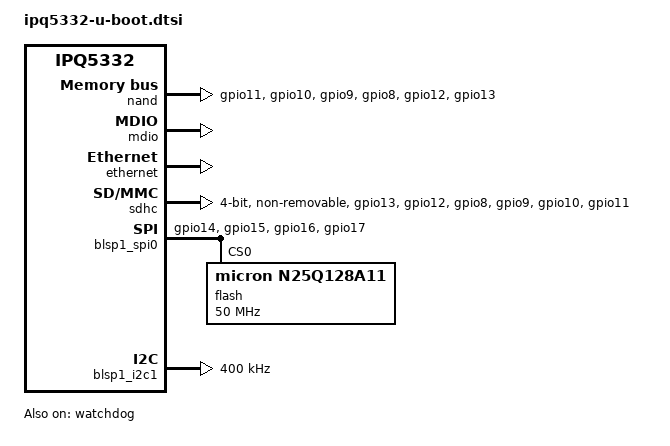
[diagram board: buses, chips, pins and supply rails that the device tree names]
// SPDX-License-Identifier: GPL-2.0+
/*
 * Copyright (c) Qualcomm Technologies, Inc. and/or its subsidiaries.
 */
/ {

	reserved-memory {

		/delete-node/ smem;
		smem_mem: smem_region@4a800000 {
			reg = <0x0 0x4a800000 0x0 0x100000>;
			no-map;
		};
	};

	smem {
		compatible = "qcom,smem";
		memory-region = <&smem_mem>;
		hwlocks = <&tcsr_mutex 3>;
	};

	soc@0 {
		nand: nand-controller@79B0000 {
			compatible = "qti,spi-nand-v2.1.1";
			#address-cells = <1>;
			#size-cells = <1>;
			reg = <0x79B0000  0x10000>;
			assigned-clocks = <&gcc GCC_QPIC_IO_MACRO_CLK>;
			assigned-clock-rates = <200000000>;
			clock-names = "qpic-io-macro-clk";
			clocks = <&gcc GCC_QPIC_IO_MACRO_CLK>;
			bam_reg = <0x07984000>;
			status_pipe = <3>;
			status_pipe_grp = <0>;
			read_pipe = <1>;
			read_pipe_grp = <0>;
			write_pipe = <0>;
			write_pipe_grp = <0>;
			cmd_pipe = <2>;
			cmd_pipe_grp = <1>;
			serial_training;
			pinctrl-0 = <&qspi_pinmux>;
			pinctrl-names = "default";
			status = "okay";
		};

		nss: clock-controller@39B00000 {
			compatible = "qcom,ipq5332-gcc";
			reg = <0x39B00000 0x00080000>;
			#address-cells = <0x1>;
			#size-cells = <0x1>;
			#clock-cells = <1>;
			#reset-cells = <1>;
		};

		mdio: mdio@90000 {
			#address-cells = <1>;
			#size-cells = <1>;
			compatible = "qcom,ipq4019-mdio";
			reg = <0x90000 0x64>;
			clocks = <&gcc GCC_MDIO_MASTER_AHB_CLK>;
			clk_div = /bits/ 8 <15>;
			status = "okay";
		};

		ethernet: nss-switch {
			compatible = "qti,ipq-nss-switch";
			#address-cells = <1>;
			#size-cells = <1>;
			reg = <0x3ab00000 0xEF800
				0x3A000000 0x1000000
				0x07A00000 0x10000>;
			reg-names = "edma_hw", "ppe_base", "uniphy_base";
			assigned-clocks = <&gcc GCC_QDSS_AT_CLK>,
					<&gcc GCC_PCNOC_BFDCD_CLK_SRC>,
					<&nss NSS_CC_CFG_CLK>,
					<&gcc GCC_SYSTEM_NOC_BFDCD_CLK_SRC>,
					<&nss NSS_CC_PPE_CLK>;
			assigned-clock-rates = <240000000>,
						<100000000>,
						<100000000>,
						<266666667>,
						<200000000>;
			clocks = <&gcc GCC_QDSS_AT_CLK>,
				<&gcc GCC_NSSCFG_CLK>,
				<&gcc GCC_NSSNOC_ATB_CLK>,
				<&gcc GCC_NSSNOC_QOSGEN_REF_CLK>,
				<&gcc GCC_NSSNOC_TIMEOUT_REF_CLK>,
				<&gcc GCC_NSSCC_CLK>,
				<&gcc GCC_NSSNOC_NSSCC_CLK>,
				<&nss NSS_CC_NSS_CSR_CLK>,
				<&nss NSS_CC_NSSNOC_NSS_CSR_CLK>,
				<&gcc GCC_IM_SLEEP_CLK>,
				<&gcc GCC_CMN_12GPLL_AHB_CLK>,
				<&gcc GCC_CMN_12GPLL_SYS_CLK>,
				<&gcc GCC_UNIPHY0_SYS_CLK>,
				<&gcc GCC_UNIPHY1_SYS_CLK>,
				<&gcc GCC_UNIPHY0_AHB_CLK>,
				<&gcc GCC_UNIPHY1_AHB_CLK>,
				<&nss NSS_CC_PORT1_MAC_CLK>,
				<&nss NSS_CC_PORT2_MAC_CLK>,
				<&nss NSS_CC_PPE_SWITCH_IPE_CLK>,
				<&nss NSS_CC_PPE_SWITCH_CLK>,
				<&nss NSS_CC_PPE_SWITCH_CFG_CLK>,
				<&nss NSS_CC_PPE_EDMA_CLK>,
				<&nss NSS_CC_PPE_EDMA_CFG_CLK>,
				<&nss NSS_CC_NSSNOC_PPE_CLK>,
				<&nss NSS_CC_NSSNOC_PPE_CFG_CLK>,
				<&nss NSS_CC_PPE_SWITCH_BTQ_CLK>,
				<&gcc GCC_NSSNOC_SNOC_CLK>,
				<&gcc GCC_NSSNOC_SNOC_1_CLK>,
				<&nss NSS_CC_PORT1_RX_CLK>,
				<&nss NSS_CC_PORT1_TX_CLK>,
				<&nss NSS_CC_PORT2_RX_CLK>,
				<&nss NSS_CC_PORT2_TX_CLK>,
				<&nss NSS_CC_UNIPHY_PORT1_RX_CLK>,
				<&nss NSS_CC_UNIPHY_PORT1_TX_CLK>,
				<&nss NSS_CC_UNIPHY_PORT2_RX_CLK>,
				<&nss NSS_CC_UNIPHY_PORT2_TX_CLK>,
				<&nss UNIPHY0_NSS_RX_CLK>,
				<&nss UNIPHY0_NSS_TX_CLK>,
				<&nss UNIPHY1_NSS_RX_CLK>,
				<&nss UNIPHY1_NSS_TX_CLK>;

			clock-names = "gcc_qdss_at_clk",
				"gcc_nsscfg_clk",
				"gcc_nssnoc_atb_clk",
				"gcc_nssnoc_qosgen_ref_clk",
				"gcc_nssnoc_timeout_ref_clk",
				"gcc_nsscc_clk",
				"gcc_nssnoc_nsscc_clk",
				"nss_cc_nss_csr_clk",
				"nss_cc_nssnoc_nss_csr_clk",
				"gcc_im_sleep_clk",
				"gcc_cmn_12gpll_ahb_clk",
				"gcc_cmn_12gpll_sys_clk",
				"gcc_uniphy0_sys_clk",
				"gcc_uniphy1_sys_clk",
				"gcc_uniphy0_ahb_clk",
				"gcc_uniphy1_ahb_clk",
				"nss_cc_port1_mac_clk",
				"nss_cc_port2_mac_clk",
				"nss_cc_ppe_switch_ipe_clk",
				"nss_cc_ppe_switch_clk",
				"nss_cc_ppe_switch_cfg_clk",
				"nss_cc_ppe_edma_clk",
				"nss_cc_ppe_edma_cfg_clk",
				"nss_cc_nssnoc_ppe_clk",
				"nss_cc_nssnoc_ppe_cfg_clk",
				"nss_cc_ppe_switch_btq_clk",
				"gcc_nssnoc_snoc_clk",
				"gcc_nssnoc_snoc_1_clk",
				"nss_cc_port1_rx_clk",
				"nss_cc_port1_tx_clk",
				"nss_cc_port2_rx_clk",
				"nss_cc_port2_tx_clk",
				"nss_cc_uniphy_port1_rx_clk",
				"nss_cc_uniphy_port1_tx_clk",
				"nss_cc_uniphy_port2_rx_clk",
				"nss_cc_uniphy_port2_tx_clk",
				"uniphy0_nss_rx_clk",
				"uniphy0_nss_tx_clk",
				"uniphy1_nss_rx_clk",
				"uniphy1_nss_tx_clk";

			resets = <&gcc GCC_UNIPHY0_SOFT_RESET>,
				<&gcc GCC_UNIPHY1_SOFT_RESET>,
				<&gcc GCC_UNIPHY0_XPCS_RESET>,
				<&gcc GCC_UNIPHY1_XPCS_RESET>,
				<&gcc GCC_UNIPHY0_BCR>,
				<&gcc GCC_UNIPHY1_BCR>,
				<&nss NSS_CC_PORT1_TX_RESET>,
				<&nss NSS_CC_PORT1_RX_RESET>,
				<&nss NSS_CC_PORT2_TX_RESET>,
				<&nss NSS_CC_PORT2_RX_RESET>,
				<&nss NSS_CC_PPE_BCR>;
			reset-names = "uniphy0_srst", "uniphy1_srst",
					"uniphy0_xrst", "uniphy1_xrst",
					"uniphy0_bcr", "uniphy1_bcr",
					"nss_cc_port1_tx",
					"nss_cc_port1_rx",
					"nss_cc_port2_tx",
					"nss_cc_port2_tx",
					"nss_cc_ppe_bcr";
			tdm_offset = <0xc000>;
			tdm_mode = <0>;
			no_tdm_reg = <30>;
			tdm_tm_support;
			50mhz = <3>;
			bridge_mode;
			status = "okay";
		};
	};
};

&watchdog {
	status = "okay";
};

&sdhc {
	bus-width = <4>;
	max-frequency = <192000000>;
	mmc-ddr-1_8v;
	mmc-hs200-1_8v;
	non-removable;
	pinctrl-0 = <&sdc_default_state>;
	pinctrl-names = "default";
	status = "okay";
	sdhci-caps-mask = <0x0 0x04000000>;
	sdhci-caps = <0x0 0x04000000>;
	resets = <&gcc GCC_SDCC_BCR>;
	reset-names = "bcr_rst";
};

&blsp_dma {
	#dma-cells = <6>;
	status = "okay";
};

&blsp1_spi0 {
	dmas = <&blsp_dma 4 1 16 0 0xFFFF 16>,
	       <&blsp_dma 5 2 16 0 0xFFFF 16>;
	force-cs;
	status = "okay";
};

&blsp1_uart1 {
	/delete-property/ dmas;
	/delete-property/ dma-names;
};

&blsp1_i2c1 {
	/delete-property/ dmas;
	/delete-property/ dma-names;
};

&blsp1_spi2 {
	/delete-property/ dmas;
	/delete-property/ dma-names;
};

&tlmm {
	qspi_pinmux: nand {
		qspi_data {
			pins = "gpio11", "gpio10", "gpio9",
				"gpio8";
			function = "qspi_data";
			drive-strength = <8>;
			bias-pull-down;
		};

		qspi_cs_n {
			pins = "gpio12";
			function = "qspi_cs";
			drive-strength = <8>;
			bias-pull-up;
		};

		qspi_clk {
			pins = "gpio13";
			function = "qspi_clk";
			drive-strength = <8>;
			bias-pull-down;
		};
	};

	sdc_default_state: sdc-default-state {
		clk-pins {
			pins = "gpio13";
			function = "sdc_clk";
			drive-strength = <8>;
			bias-disable;
		};

		cmd-pins {
			pins = "gpio12";
			function = "sdc_cmd";
			drive-strength = <8>;
			bias-pull-up;
		};

		data-pins {
			pins = "gpio8", "gpio9", "gpio10", "gpio11";
			function = "sdc_data";
			drive-strength = <8>;
			bias-pull-up;
		};
	};

	spi_0_data_clk_pins: spi-0-data-clk-state {
		pins = "gpio14", "gpio15", "gpio16";
		function = "blsp0_spi";
		drive-strength = <2>;
		bias-pull-down;
	};

	spi_0_cs_pins: spi-0-cs-state {
		pins = "gpio17";
		function = "blsp0_spi";
		drive-strength = <2>;
		bias-pull-up;
	};
};

&blsp1_i2c1 {
	/delete-property/ clocks;
	/delete-property/ clock-names;
	clocks = <&gcc GCC_BLSP1_QUP2_I2C_APPS_CLK>,
		 <&gcc GCC_BLSP1_AHB_CLK>;
	clock-names = "iface", "core";
	assigned-clocks = <&gcc GCC_BLSP1_QUP2_I2C_APPS_CLK>;
	assigned-clock-rates = <50000000>;
	clock-frequency = <400000>;
};

&blsp1_spi0 {
	pinctrl-0 = <&spi_0_data_clk_pins &spi_0_cs_pins>;
	pinctrl-names = "default";
	status = "okay";

	flash@0 {
		compatible = "micron,n25q128a11", "jedec,spi-nor";
		reg = <0>;
		#address-cells = <1>;
		#size-cells = <1>;
		spi-max-frequency = <50000000>;
	};
};
